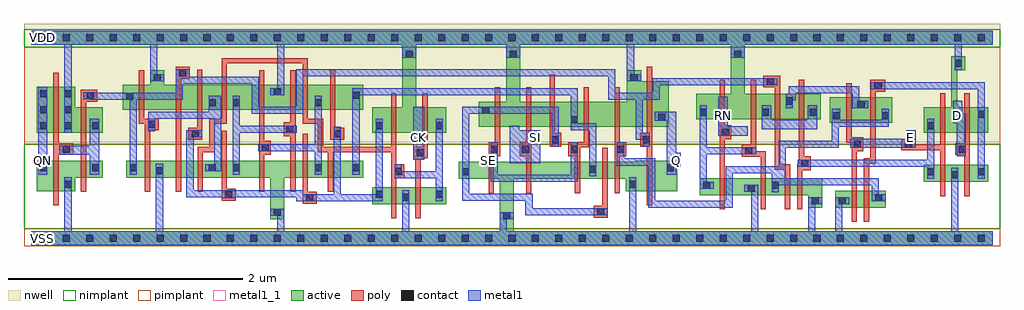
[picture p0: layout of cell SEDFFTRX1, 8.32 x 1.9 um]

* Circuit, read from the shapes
.subckt SEDFFTRX1 CK D E Q QN RN SE SI VDD VSS
M1 VSS n1 QN VSS nfet w=0.26u l=0.045u
M2 n1 n2 VSS VSS nfet w=0.145u l=0.045u
M3 VSS n3 n2 VSS nfet w=0.145u l=0.045u
M4 n4 n2 VSS VSS nfet w=0.145u l=0.045u
M5 n3 n5 n4 VSS nfet w=0.145u l=0.045u
M6 n6 n7 n3 VSS nfet w=0.145u l=0.045u
M7 VSS n8 n6 VSS nfet w=0.145u l=0.045u
M8 n9 n6 VSS VSS nfet w=0.145u l=0.045u
M9 n8 n7 n9 VSS nfet w=0.145u l=0.045u
M10 n10 n5 n8 VSS nfet w=0.145u l=0.045u
M11 VSS n5 n7 VSS nfet w=0.145u l=0.045u
M12 n5 CK VSS VSS nfet w=0.145u l=0.045u
M13 VSS SE n11 VSS nfet w=0.145u l=0.045u
M14 n12 SI VSS VSS nfet w=0.145u l=0.045u
M15 n10 SE n12 VSS nfet w=0.145u l=0.045u
M16 n13 n11 n10 VSS nfet w=0.145u l=0.045u
M17 VSS n14 n13 VSS nfet w=0.145u l=0.045u
M18 Q n2 VSS VSS nfet w=0.26u l=0.045u
M19 VSS RN n15 VSS nfet w=0.145u l=0.045u
M20 n14 n15 VSS VSS nfet w=0.145u l=0.045u
M21 n16 n2 n14 VSS nfet w=0.145u l=0.045u
M22 VSS n17 n16 VSS nfet w=0.145u l=0.045u
M23 n18 E VSS VSS nfet w=0.145u l=0.045u
M24 n14 n19 n18 VSS nfet w=0.145u l=0.045u
M25 VSS E n17 VSS nfet w=0.145u l=0.045u
M26 n19 D VSS VSS nfet w=0.145u l=0.045u
M27 VDD n1 QN VDD pfet w=0.39u l=0.045u
M28 n1 n2 VDD VDD pfet w=0.215u l=0.045u
M29 VDD n3 n2 VDD pfet w=0.215u l=0.045u
M30 n20 n2 VDD VDD pfet w=0.215u l=0.045u
M31 n3 n7 n20 VDD pfet w=0.215u l=0.045u
M32 n6 n5 n3 VDD pfet w=0.215u l=0.045u
M33 VDD n8 n6 VDD pfet w=0.215u l=0.045u
M34 n21 n6 VDD VDD pfet w=0.215u l=0.045u
M35 n8 n5 n21 VDD pfet w=0.215u l=0.045u
M36 n10 n7 n8 VDD pfet w=0.215u l=0.045u
M37 VDD n5 n7 VDD pfet w=0.215u l=0.045u
M38 n5 CK VDD VDD pfet w=0.215u l=0.045u
M39 VDD SE n11 VDD pfet w=0.215u l=0.045u
M40 n22 SI VDD VDD pfet w=0.215u l=0.045u
M41 n10 n11 n22 VDD pfet w=0.215u l=0.045u
M42 n23 SE n10 VDD pfet w=0.215u l=0.045u
M43 VDD n14 n23 VDD pfet w=0.215u l=0.045u
M44 Q n2 VDD VDD pfet w=0.39u l=0.045u
M45 VDD RN n15 VDD pfet w=0.215u l=0.045u
M46 n24 n15 VDD VDD pfet w=0.215u l=0.045u
M47 n25 n2 n24 VDD pfet w=0.215u l=0.045u
M48 n24 n17 n25 VDD pfet w=0.215u l=0.045u
M49 n25 E n14 VDD pfet w=0.215u l=0.045u
M50 n14 n19 n25 VDD pfet w=0.215u l=0.045u
M51 VDD E n17 VDD pfet w=0.215u l=0.045u
M52 n19 D VDD VDD pfet w=0.215u l=0.045u
.ends

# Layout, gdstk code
import gdstk
lib = gdstk.Library(unit=1e-6, precision=5e-10)
def R(c, l, rs):  # rectangles x0, y0, x1, y1
    for r in rs: c.add(gdstk.rectangle(r[:2], r[2:], *l))
def A(c, l, x, y, w, h, nx, ny, dx, dy):  # array of equal rectangles
    R(c, l, [(x+i*dx, y+j*dy, x+i*dx+w, y+j*dy+h) for i in range(nx) for j in range(ny)])
def P(c, l, *ps):  # polygons
    for p in ps: c.add(gdstk.Polygon(p, *l))
active = (1, 0)
nwell = (2, 0)
poly = (3, 0)
nimplant = (4, 0)
pimplant = (5, 0)
contact = (6, 0)
metal1 = (7, 0)
metal1_1 = (7, 1)

sedfftrx1 = lib.new_cell('SEDFFTRX1')
R(sedfftrx1, active, [(6.855,0.26,7.285,0.405), (2.91,0.29,3.54,0.435), (7.61,0.48,8.16,0.625), (6.81,0.985,7.34,1.2)])
P(sedfftrx1, active, [(0,1.77),(8.2,1.77),(8.2,1.65),(6.085,1.65),(6.085,1.23),(6.73,1.23),(6.73,1.015),(5.67,1.015),(5.67,1.23),(5.965,1.23),(5.965,1.65),(4.17,1.65),(4.17,1.165),(5.08,1.165),(5.08,1.43),(5.2,1.43),(5.2,1.34),(5.435,1.34),(5.435,0.95),(3.815,0.95),(3.815,1.165),(4.05,1.165),(4.05,1.65),(3.285,1.65),(3.285,1.115),(3.54,1.115),(3.54,0.9),(2.91,0.9),(2.91,1.115),(3.165,1.115),(3.165,1.65),(0,1.65)],
  [(0.05,1.29),(0.375,1.29),(0.375,1.115),(0.61,1.115),(0.61,0.9),(0.05,0.9)],
  [(1.015,1.43),(1.135,1.43),(1.135,1.31),(2.83,1.31),(2.83,1.095),(0.78,1.095),(0.78,1.31),(1.015,1.31)],
  [(7.845,1.55),(7.965,1.55),(7.965,1.43),(7.895,1.43),(7.895,1.115),(8.16,1.115),(8.16,0.9),(7.61,0.9),(7.61,1.115),(7.845,1.115)],
  [(0.05,0.66),(0.61,0.66),(0.61,0.515),(0.375,0.515),(0.375,0.4),(0.05,0.4)],
  [(0.81,0.66),(2.83,0.66),(2.83,0.515),(2.16,0.515),(2.16,0.16),(2.04,0.16),(2.04,0.515),(0.81,0.515)],
  [(5.15,0.66),(5.51,0.66),(5.51,0.4),(5.07,0.4),(5.07,0.505),(4.115,0.505),(4.115,0.06),(8.2,0.06),(8.2,-0.06),(0,-0.06),(0,0.06),(3.995,0.06),(3.995,0.505),(3.645,0.505),(3.645,0.65),(5.15,0.65)],
  [(5.7,0.51),(6.745,0.51),(6.745,0.26),(6.625,0.26),(6.625,0.365),(5.7,0.365)])
R(sedfftrx1, nwell, [(-0.06,0.82,8.26,1.83)])
P(sedfftrx1, poly, [(1.625,1.535),(2.36,1.535),(2.36,1.02),(2.49,1.02),(2.49,0.78),(3.07,0.78),(3.07,1.235),(3.115,1.235),(3.115,0.63),(3.18,0.63),(3.18,0.51),(3.115,0.51),(3.115,0.17),(3.07,0.17),(3.07,0.735),(2.575,0.735),(2.575,0.395),(2.53,0.395),(2.53,0.735),(2.445,0.735),(2.445,0.975),(2.315,0.975),(2.315,1.49),(1.67,1.49),(1.67,0.975),(1.565,0.975),(1.565,0.735),(1.465,0.735),(1.465,0.395),(1.42,0.395),(1.42,0.78),(1.52,0.78),(1.52,1.02),(1.625,1.02)],
  [(1.235,1.46),(1.355,1.46),(1.355,1.36),(1.28,1.36),(1.28,0.395),(1.235,0.395)],
  [(0.19,1.41),(0.235,1.41),(0.235,0.81),(0.36,0.81),(0.36,0.71),(0.235,0.71),(0.235,0.28),(0.19,0.28)],
  [(0.425,1.265),(0.565,1.265),(0.565,1.165),(0.47,1.165),(0.47,0.395),(0.425,0.395)],
  [(0.92,1.43),(0.965,1.43),(0.965,1.02),(1.09,1.02),(1.09,0.92),(1.015,0.92),(1.015,0.395),(0.97,0.395),(0.97,0.975),(0.92,0.975)],
  [(1.415,1.435),(1.46,1.435),(1.46,0.84),(1.34,0.84),(1.34,0.94),(1.415,0.94)],
  [(1.945,1.43),(1.99,1.43),(1.99,0.83),(2.045,0.83),(2.045,0.71),(1.99,0.71),(1.99,0.395),(1.945,0.395)],
  [(2.21,1.43),(2.255,1.43),(2.255,0.395),(2.21,0.395),(2.21,0.87),(2.155,0.87),(2.155,0.99),(2.21,0.99)],
  [(2.55,1.435),(2.595,1.435),(2.595,0.94),(2.67,0.94),(2.67,0.84),(2.55,0.84)],
  [(3.335,1.235),(3.38,1.235),(3.38,0.68),(3.32,0.68),(3.32,0.17),(3.275,0.17),(3.275,0.68),(3.26,0.68),(3.26,0.78),(3.335,0.78)],
  [(3.955,1.285),(4,1.285),(4,0.7),(3.945,0.7),(3.945,0.385),(3.9,0.385),(3.9,0.82),(3.955,0.82)],
  [(4.22,1.285),(4.265,1.285),(4.265,0.385),(4.22,0.385),(4.22,0.7),(4.165,0.7),(4.165,0.82),(4.22,0.82)],
  [(4.42,1.395),(4.465,1.395),(4.465,0.9),(4.52,0.9),(4.52,0.78),(4.42,0.78)],
  [(4.71,1.285),(4.755,1.285),(4.755,0.775),(4.68,0.775),(4.68,0.385),(4.635,0.385),(4.635,0.7),(4.58,0.7),(4.58,0.82),(4.71,0.82)],
  [(4.975,1.285),(5.02,1.285),(5.02,0.82),(5.075,0.82),(5.075,0.7),(5.02,0.7),(5.02,0.385),(4.975,0.385)],
  [(5.25,1.46),(5.295,1.46),(5.295,0.28),(5.25,0.28),(5.25,0.78),(5.195,0.78),(5.195,0.9),(5.25,0.9)],
  [(5.87,1.35),(5.915,1.35),(5.915,0.965),(5.97,0.965),(5.97,0.845),(5.915,0.845),(5.915,0.245),(5.87,0.245)],
  [(6.24,1.385),(6.385,1.385),(6.385,0.63),(6.47,0.63),(6.47,0.245),(6.425,0.245),(6.425,0.585),(6.34,0.585),(6.34,1.285),(6.24,1.285)],
  [(6.135,1.35),(6.18,1.35),(6.18,0.74),(6.265,0.74),(6.265,0.245),(6.22,0.245),(6.22,0.695),(6.06,0.695),(6.06,0.795),(6.135,0.795)],
  [(7.155,1.35),(7.28,1.35),(7.28,1.25),(7.2,1.25),(7.2,0.635),(7.145,0.635),(7.145,0.14),(7.1,0.14),(7.1,0.68),(7.155,0.68)],
  [(6.545,1.35),(6.59,1.35),(6.59,0.7),(6.645,0.7),(6.645,0.58),(6.575,0.58),(6.575,0.245),(6.53,0.245),(6.53,0.63),(6.545,0.63)],
  [(6.95,1.32),(6.995,1.32),(6.995,0.86),(7.095,0.86),(7.095,0.74),(7.04,0.74),(7.04,0.14),(6.995,0.14),(6.995,0.815),(6.95,0.815)],
  [(7.42,0.85),(7.54,0.85),(7.54,0.795),(7.75,0.795),(7.75,1.235),(7.795,1.235),(7.795,0.36),(7.75,0.36),(7.75,0.75),(7.42,0.75)],
  [(7.955,1.235),(8,1.235),(8,0.36),(7.955,0.36),(7.955,0.71),(7.88,0.71),(7.88,0.81),(7.955,0.81)],
  [(1.625,0.915),(1.67,0.915),(1.67,0.42),(1.745,0.42),(1.745,0.32),(1.625,0.32)],
  [(2.315,0.89),(2.36,0.89),(2.36,0.395),(2.435,0.395),(2.435,0.295),(2.315,0.295)],
  [(4.87,0.77),(4.915,0.77),(4.915,0.175),(4.795,0.175),(4.795,0.275),(4.87,0.275)])
R(sedfftrx1, nimplant, [(-0.06,0.08,8.26,0.8), (-0.06,1.63,8.26,1.78)])
R(sedfftrx1, pimplant, [(-0.06,-0.07,8.26,0.08), (-0.06,0.8,8.26,1.63)])
A(sedfftrx1, contact, 0.07, -0.03, 0.06, 0.06, 41, 2, 0.2, 1.71)
A(sedfftrx1, contact, 0.08, 0.93, 0.06, 0.06, 1, 3, 0, 0.135)
A(sedfftrx1, contact, 0.285, 0.93, 0.06, 0.06, 1, 3, 0, 0.135)
R(sedfftrx1, contact, [(4.025,0.16,4.085,0.22), (2.07,0.19,2.13,0.25), (4.825,0.195,4.885,0.255), (6.655,0.29,6.715,0.35), (6.885,0.29,6.945,0.35), (2.345,0.315,2.405,0.375), (7.195,0.315,7.255,0.375), (3.165,0.32,3.225,0.38), (1.655,0.34,1.715,0.4), (2.94,0.345,3,0.405), (3.45,0.345,3.51,0.405), (6.11,0.395,6.17,0.455), (5.73,0.42,5.79,0.48), (6.315,0.42,6.375,0.48), (0.285,0.43,0.345,0.49), (5.1,0.43,5.16,0.49), (7.845,0.51,7.905,0.57), (3.675,0.535,3.735,0.595), (7.64,0.535,7.7,0.595), (8.07,0.535,8.13,0.595), (3.1,0.54,3.16,0.6), (1.065,0.545,1.125,0.605), (4.76,0.56,4.82,0.62), (0.08,0.57,0.14,0.63), (0.52,0.57,0.58,0.63), (0.84,0.57,0.9,0.63), (1.515,0.57,1.575,0.63), (1.72,0.57,1.78,0.63), (2.42,0.57,2.48,0.63), (2.74,0.57,2.8,0.63), (5.42,0.57,5.48,0.63), (6.565,0.61,6.625,0.67), (3.29,0.7,3.35,0.76), (6.09,0.715,6.15,0.775), (0.27,0.73,0.33,0.79), (3.92,0.73,3.98,0.79), (4.185,0.73,4.245,0.79), (4.6,0.73,4.66,0.79), (4.995,0.73,5.055,0.79), (7.91,0.73,7.97,0.79), (1.965,0.74,2.025,0.8), (7.015,0.77,7.075,0.83), (7.45,0.77,7.51,0.83), (4.44,0.81,4.5,0.87), (5.215,0.81,5.275,0.87), (1.37,0.86,1.43,0.92), (2.58,0.86,2.64,0.92), (5.89,0.875,5.95,0.935), (2.175,0.9,2.235,0.96), (0.52,0.93,0.58,0.99), (2.94,0.93,3,0.99), (3.45,0.93,3.51,0.99), (7.64,0.93,7.7,0.99), (1,0.94,1.06,1), (4.6,0.98,4.66,1.04), (5.345,1,5.405,1.06), (6.84,1.015,6.9,1.075), (7.25,1.015,7.31,1.075), (8.07,1.025,8.13,1.085), (5.7,1.045,5.76,1.105), (6.23,1.045,6.29,1.105), (6.64,1.045,6.7,1.105), (3.845,1.06,3.905,1.12), (7.045,1.11,7.105,1.17), (1.515,1.125,1.575,1.185), (1.72,1.125,1.78,1.185), (2.42,1.125,2.48,1.185), (6.435,1.14,6.495,1.2), (0.81,1.18,0.87,1.24), (0.475,1.185,0.535,1.245), (2.74,1.19,2.8,1.25), (2.07,1.22,2.13,1.28), (7.19,1.27,7.25,1.33), (6.27,1.305,6.33,1.365), (1.045,1.34,1.105,1.4), (5.11,1.34,5.17,1.4), (1.265,1.38,1.325,1.44), (7.875,1.46,7.935,1.52), (3.195,1.54,3.255,1.6), (4.08,1.54,4.14,1.6), (5.995,1.54,6.055,1.6)])
R(sedfftrx1, metal1, [(0.06,0.54,0.14,1.29), (3.26,0.67,3.35,1.12)])
P(sedfftrx1, metal1, [(0,1.77),(8.2,1.77),(8.2,1.65),(7.935,1.65),(7.935,1.43),(7.875,1.43),(7.875,1.65),(6.085,1.65),(6.085,1.54),(5.965,1.54),(5.965,1.65),(5.14,1.65),(5.14,1.4),(5.2,1.4),(5.2,1.34),(5.08,1.34),(5.08,1.65),(4.17,1.65),(4.17,1.54),(4.05,1.54),(4.05,1.65),(3.285,1.65),(3.285,1.54),(3.165,1.54),(3.165,1.65),(2.16,1.65),(2.16,1.22),(2.04,1.22),(2.04,1.28),(2.1,1.28),(2.1,1.65),(1.075,1.65),(1.075,1.4),(1.135,1.4),(1.135,1.34),(1.015,1.34),(1.015,1.65),(0.345,1.65),(0.345,0.9),(0.285,0.9),(0.285,1.65),(0,1.65)],
  [(1.235,1.44),(1.355,1.44),(1.355,1.375),(1.94,1.375),(1.94,1.12),(2.26,1.12),(2.26,1.44),(4.98,1.44),(4.98,1.24),(5.3,1.24),(5.3,1.365),(6.36,1.365),(6.36,1.305),(5.36,1.305),(5.36,1.18),(5.215,1.18),(5.215,0.9),(5.275,0.9),(5.275,0.78),(5.215,0.78),(5.215,0.84),(5.155,0.84),(5.155,1.18),(4.92,1.18),(4.92,1.38),(2.32,1.38),(2.32,1.06),(1.88,1.06),(1.88,1.315),(1.295,1.315),(1.295,1.18),(0.9,1.18),(0.9,0.54),(0.84,0.54),(0.84,1.18),(0.505,1.18),(0.505,1.185),(0.445,1.185),(0.445,1.245),(0.565,1.245),(0.565,1.24),(1.235,1.24)],
  [(1.515,1.215),(1.62,1.215),(1.62,0.57),(1.485,0.57),(1.485,0.63),(1.56,0.63),(1.56,1.02),(1.06,1.02),(1.06,0.91),(1,0.91),(1,1.08),(1.515,1.08)],
  [(0.5,1.02),(0.58,1.02),(0.58,0.54),(0.5,0.54),(0.5,0.71),(0.24,0.71),(0.24,0.79),(0.5,0.79)],
  [(0.285,0.52),(0.345,0.52),(0.345,0.06),(1.065,0.06),(1.065,0.635),(1.125,0.635),(1.125,0.06),(2.1,0.06),(2.1,0.19),(2.04,0.19),(2.04,0.25),(2.16,0.25),(2.16,0.06),(3.165,0.06),(3.165,0.41),(3.225,0.41),(3.225,0.06),(3.995,0.06),(3.995,0.22),(4.115,0.22),(4.115,0.16),(4.055,0.16),(4.055,0.06),(5.1,0.06),(5.1,0.52),(5.16,0.52),(5.16,0.06),(6.14,0.06),(6.14,0.395),(6.08,0.395),(6.08,0.455),(6.2,0.455),(6.2,0.06),(6.625,0.06),(6.625,0.35),(6.745,0.35),(6.745,0.29),(6.685,0.29),(6.685,0.06),(6.855,0.06),(6.855,0.35),(6.975,0.35),(6.975,0.29),(6.915,0.29),(6.915,0.06),(7.845,0.06),(7.845,0.6),(7.905,0.6),(7.905,0.06),(8.2,0.06),(8.2,-0.06),(0,-0.06),(0,0.06),(0.285,0.06)],
  [(1.325,0.92),(1.46,0.92),(1.46,0.86),(1.385,0.86),(1.385,0.41),(2.32,0.41),(2.32,0.375),(2.58,0.375),(2.58,0.95),(2.64,0.95),(2.64,0.375),(2.94,0.375),(2.94,1.02),(3,1.02),(3,0.315),(2.26,0.315),(2.26,0.35),(1.745,0.35),(1.745,0.34),(1.625,0.34),(1.625,0.35),(1.325,0.35)],
  [(1.72,1.215),(1.78,1.215),(1.78,0.96),(2.265,0.96),(2.265,0.9),(1.78,0.9),(1.78,0.54),(1.72,0.54)],
  [(2.42,1.215),(2.48,1.215),(2.48,0.54),(2.42,0.54),(2.42,0.74),(1.935,0.74),(1.935,0.8),(2.42,0.8)],
  [(2.74,1.28),(4.66,1.28),(4.66,0.98),(4.82,0.98),(4.82,0.53),(4.76,0.53),(4.76,0.92),(4.6,0.92),(4.6,1.22),(2.8,1.22),(2.8,0.54),(2.74,0.54)],
  [(3.1,0.63),(3.16,0.63),(3.16,0.57),(3.45,0.57),(3.45,1.02),(3.51,1.02),(3.51,0.315),(3.45,0.315),(3.45,0.51),(3.1,0.51)],
  [(3.675,1.12),(4.5,1.12),(4.5,0.78),(4.44,0.78),(4.44,1.06),(3.735,1.06),(3.735,0.38),(4.275,0.38),(4.275,0.255),(4.915,0.255),(4.915,0.195),(4.215,0.195),(4.215,0.32),(3.675,0.32)],
  [(6.46,1.295),(7.06,1.295),(7.06,1.17),(7.135,1.17),(7.135,1.11),(7,1.11),(7,1.235),(6.52,1.235),(6.52,1.175),(6.495,1.175),(6.495,1.11),(6.435,1.11),(6.435,1.23),(6.46,1.23)],
  [(7.16,1.33),(8.13,1.33),(8.13,0.505),(8.07,0.505),(8.07,1.27),(7.16,1.27)],
  [(5.7,1.135),(5.76,1.135),(5.76,0.775),(6.18,0.775),(6.18,0.715),(5.76,0.715),(5.76,0.48),(5.82,0.48),(5.82,0.42),(5.7,0.42)],
  [(4.08,0.96),(4.16,0.96),(4.16,0.92),(4.34,0.92),(4.34,0.64),(4.08,0.64)],
  [(3.92,0.82),(3.98,0.82),(3.98,0.54),(4.6,0.54),(4.6,0.82),(4.66,0.82),(4.66,0.48),(3.92,0.48),(3.92,0.625),(3.835,0.625),(3.835,0.705),(3.92,0.705)],
  [(6.23,1.135),(6.31,1.135),(6.31,1.01),(6.62,1.01),(6.62,1.135),(6.7,1.135),(6.7,0.93),(6.23,0.93)],
  [(5.86,1.205),(5.94,1.205),(5.94,0.955),(6.11,0.955),(6.11,0.875),(5.86,0.875)],
  [(5.315,1.08),(5.5,1.08),(5.5,0.73),(5.54,0.73),(5.54,0.6),(5.5,0.6),(5.5,0.54),(5.42,0.54),(5.42,1),(5.315,1)],
  [(6.825,1.105),(6.9,1.105),(6.9,1.01),(7.25,1.01),(7.25,1.105),(7.31,1.105),(7.31,0.95),(6.885,0.95),(6.885,0.77),(6.435,0.77),(6.435,0.51),(7.225,0.51),(7.225,0.375),(7.285,0.375),(7.285,0.315),(7.165,0.315),(7.165,0.45),(6.375,0.45),(6.375,0.39),(6.315,0.39),(6.315,0.555),(5.98,0.555),(5.98,0.26),(5.26,0.26),(5.26,0.62),(4.995,0.62),(4.995,0.82),(5.055,0.82),(5.055,0.68),(5.32,0.68),(5.32,0.32),(5.92,0.32),(5.92,0.615),(6.375,0.615),(6.375,0.83),(6.825,0.83)],
  [(7.46,0.92),(7.54,0.92),(7.54,0.77),(6.985,0.77),(6.985,0.85),(7.46,0.85)],
  [(7.64,1.02),(7.7,1.02),(7.7,0.505),(7.64,0.505),(7.64,0.61),(6.535,0.61),(6.535,0.67),(7.64,0.67)],
  [(7.86,1.17),(7.94,1.17),(7.94,1.06),(7.97,1.06),(7.97,0.7),(7.89,0.7),(7.89,0.98),(7.86,0.98)])
R(sedfftrx1, metal1_1, [(0.06,-0.04,0.14,0.04), (0.06,0.625,0.14,0.705), (3.86,0.625,3.94,0.705), (5.46,0.625,5.54,0.705), (3.26,0.815,3.34,0.895), (4.26,0.815,4.34,0.895), (7.46,0.815,7.54,0.895), (5.86,1.005,5.94,1.085), (7.86,1.005,7.94,1.085), (0.06,1.67,0.14,1.75)])
sedfftrx1.add(gdstk.Label('Q', (5.5,0.665), layer=7, texttype=1))
sedfftrx1.add(gdstk.Label('QN', (0.1,0.665), layer=7, texttype=1))
sedfftrx1.add(gdstk.Label('D', (7.9,1.045), layer=7, texttype=1))
sedfftrx1.add(gdstk.Label('E', (7.5,0.855), layer=7, texttype=1))
sedfftrx1.add(gdstk.Label('RN', (5.9,1.045), layer=7, texttype=1))
sedfftrx1.add(gdstk.Label('SI', (4.3,0.855), layer=7, texttype=1))
sedfftrx1.add(gdstk.Label('SE', (3.9,0.665), layer=7, texttype=1))
sedfftrx1.add(gdstk.Label('CK', (3.3,0.855), layer=7, texttype=1))
sedfftrx1.add(gdstk.Label('VDD', (0.1,1.71), layer=7, texttype=1))
sedfftrx1.add(gdstk.Label('VSS', (0.1,0), layer=7, texttype=1))
sedfftrx1.add(gdstk.Label('SEDFFTRX1', (0,0), layer=63, texttype=0))

lib.write_gds('SEDFFTRX1.gds')
